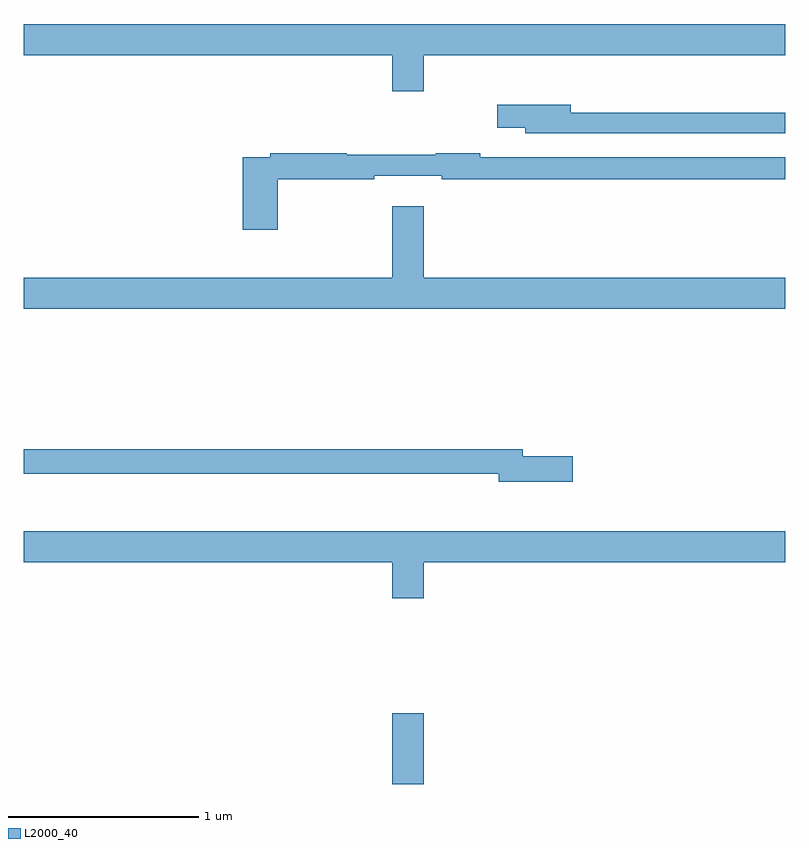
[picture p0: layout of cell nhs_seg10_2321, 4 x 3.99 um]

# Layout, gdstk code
import gdstk
lib = gdstk.Library(unit=1e-6, precision=1e-09)
def R(c, l, rs):  # rectangles x0, y0, x1, y1
    for r in rs: c.add(gdstk.rectangle(r[:2], r[2:], *l))
def P(c, l, *ps):  # polygons
    for p in ps: c.add(gdstk.Polygon(p, *l))
L2000_40 = (2000, 40)

nhs_seg10_2321 = lib.new_cell('nhs_seg10_2321')
R(nhs_seg10_2321, L2000_40, [(236.936,1284.5,237.1,1284.871)])
P(nhs_seg10_2321, L2000_40, [(237.1,1288.328),(239,1288.328),(239,1288.492),(235,1288.492),(235,1288.328),(236.936,1288.328),(236.936,1288.14),(237.1,1288.14)],
  [(239,1288.027),(237.874,1288.027),(237.874,1288.069),(237.486,1288.069),(237.486,1287.947),(237.635,1287.947),(237.635,1287.918),(239,1287.918)],
  [(236.333,1287.676),(236.84,1287.676),(236.84,1287.695),(237.196,1287.695),(237.196,1287.676),(239,1287.676),(239,1287.792),(237.398,1287.792),(237.398,1287.812),(237.164,1287.812),(237.164,1287.805),(236.696,1287.805),(236.696,1287.812),(236.296,1287.812),(236.296,1287.792),(236.15,1287.792),(236.15,1287.411),(236.333,1287.411)],
  [(239,1287.16),(237.1,1287.16),(237.1,1287.535),(236.936,1287.535),(236.936,1287.16),(235,1287.16),(235,1286.996),(239,1286.996)],
  [(237.883,1286.222),(237.622,1286.222),(237.622,1286.258),(235,1286.258),(235,1286.13),(237.494,1286.13),(237.494,1286.087),(237.883,1286.087)],
  [(237.1,1285.664),(239,1285.664),(239,1285.828),(235,1285.828),(235,1285.664),(236.936,1285.664),(236.936,1285.476),(237.1,1285.476)])

lib.write_gds('nhs_seg10_2321.gds')
